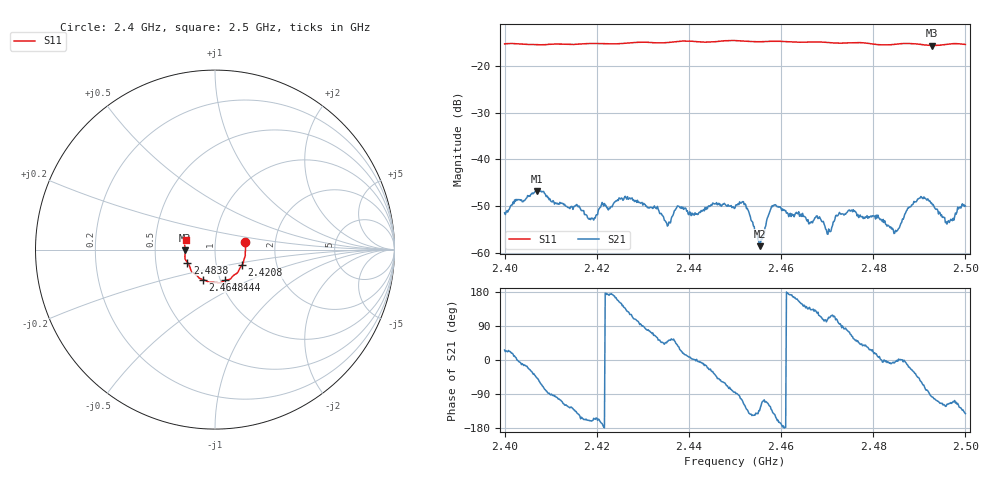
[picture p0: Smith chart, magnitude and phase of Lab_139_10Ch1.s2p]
# Hz S RI R
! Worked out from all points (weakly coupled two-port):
!   601 points, 2.4 GHz to 2.5 GHz, reference 50 ohm
!   highest |S21| = -46.77 dB at 2.407 GHz (marker M1); lowest = -58.6 dB at 2.4553 GHz (marker M2)
!   lowest |S11| = -15.6 dB at 2.4928 GHz (marker M3), VSWR 1.40, Z = 35.8 - j0.348 ohm
!   |S11| at or under -10 dB: start of sweep to end of sweep
!   S12 and S22 are empty: the file has one direction only
!   S11 on the Smith chart (normalised r, x): 2.4 GHz: 1.40, +0.12; 2.4208 GHz: 1.33, -0.24; 2.444 GHz: 1.06, -0.37; 2.4648 GHz: 0.83, -0.29; 2.4838 GHz: 0.73, -0.11; 2.5 GHz: 0.72, +0.08
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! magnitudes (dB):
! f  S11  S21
! 2.4 GHz  -15.2  -51.5
! 2.407 GHz  -15.4  -46.8
! 2.4167 GHz  -15.2  -51.0
! 2.4208 GHz  -15.2  -50.3
! 2.4333 GHz  -15.0  -50.7
! 2.4355 GHz  -14.9  -54.1
! 2.4375 GHz  -14.7  -50.0
! 2.444 GHz  -14.9  -50.6
! 2.45 GHz  -14.5  -50.5
! 2.4522 GHz  -14.7  -49.5
! 2.4553 GHz  -14.8  -58.6
! 2.4583 GHz  -14.7  -49.9
! 2.4648 GHz  -14.9  -52.3
! 2.4667 GHz  -14.8  -53.4
! 2.4703 GHz  -15.0  -54.9
! 2.4752 GHz  -15.0  -51.0
! 2.4833 GHz  -15.5  -54.2
! 2.4838 GHz  -15.4  -54.5
! 2.49 GHz  -15.3  -48.3
! 2.4928 GHz  -15.6  -49.8
! 2.4962 GHz  -15.3  -53.4
! 2.5 GHz  -15.4  -50.0
